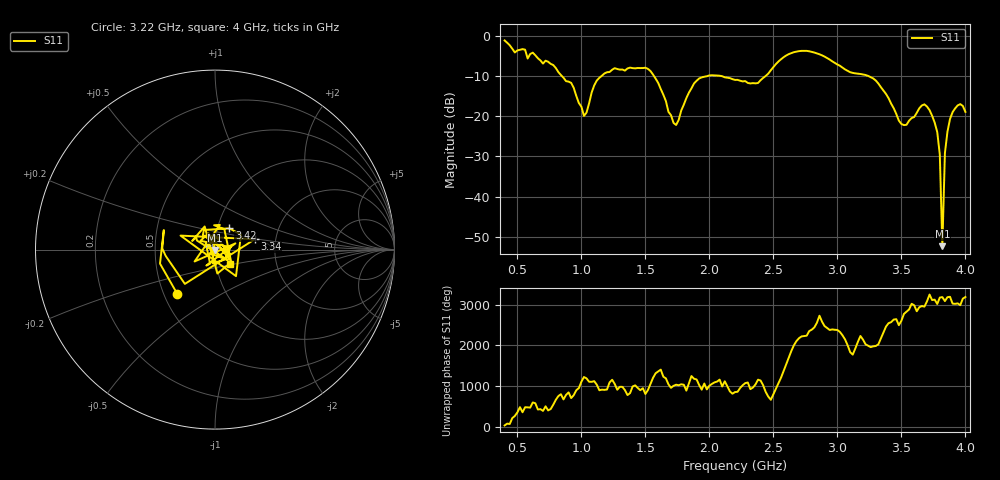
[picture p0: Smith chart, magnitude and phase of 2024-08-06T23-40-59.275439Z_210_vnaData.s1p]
!Created with skrf (http://scikit-rf.org).
# Hz S RI R 50.0
!freq ReS11 ImS11
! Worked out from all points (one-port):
!   181 points, 400 MHz to 4 GHz, reference 50 ohm
!   lowest |S11| = -52.3 dB at 3.82 GHz (marker M1), VSWR 1.00, Z = 50.2 - j0.178 ohm
!   |S11| at or under -10 dB: 1.566 GHz to 1.988 GHz (421.6 MHz wide, 23.7 % of centre); 2.087 GHz to 2.44 GHz (353 MHz wide, 15.6 % of centre); 3.24 GHz to end of sweep (the widest 3 of 4)
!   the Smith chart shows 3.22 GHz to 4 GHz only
!   S11 on the Smith chart (normalised r, x): 3.22 GHz: 0.59, -0.32; 3.34 GHz: 1.55, +0.19; 3.42 GHz: 1.14, +0.28; 4 GHz: 1.16, -0.18
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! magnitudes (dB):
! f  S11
! 400 MHz  -1.2
! 860 MHz  -10.4
! 920 MHz  -11.7
! 1.02 GHz  -19.9
! 1.12 GHz  -11.2
! 1.3 GHz  -8.4
! 1.52 GHz  -8.3
! 1.6 GHz  -11.7
! 1.72 GHz  -21.7
! 1.76 GHz  -20.9
! 1.92 GHz  -10.6
! 2.2 GHz  -11.0
! 2.38 GHz  -11.8
! 2.66 GHz  -4.1
! 3.1 GHz  -9.1
! 3.22 GHz  -9.8
! 3.34 GHz  -12.8
! 3.42 GHz  -16.9
! 3.5 GHz  -21.9
! 3.56 GHz  -21.1
! 3.68 GHz  -17.1
! 3.78 GHz  -23.9
! 3.8 GHz  -29.5
! 3.82 GHz  -52.3
! 3.84 GHz  -29.2
! 3.86 GHz  -23.8
! 3.94 GHz  -17.3
! 4 GHz  -18.9
